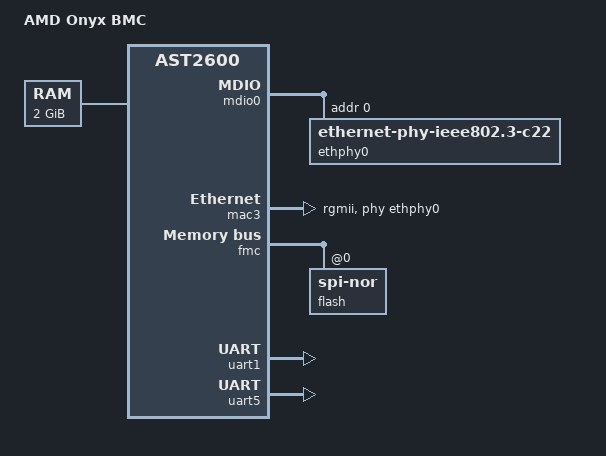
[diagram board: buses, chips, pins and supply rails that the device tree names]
// SPDX-License-Identifier: GPL-2.0+
// Copyright (c) 2021 - 2024 AMD Inc.
// Author: Supreeth Venkatesh <supreeth.venkatesh@amd.com>

/dts-v1/;

#include "aspeed-g6.dtsi"
#include <dt-bindings/gpio/aspeed-gpio.h>

/ {
       model = "AMD Onyx BMC";
       compatible = "amd,onyx-bmc", "aspeed,ast2600";

       aliases {
               serial0 = &uart1;
               serial4 = &uart5;
      };

       chosen {
               stdout-path = &uart5;
               bootargs = "console=ttyS4,115200 earlyprintk vmalloc=512MB";
       };

       memory@80000000 {
               device_type = "memory";
               reg = <0x80000000 0x80000000>;
       };

};

&mdio0 {
       status = "okay";

       ethphy0: ethernet-phy@0 {
               compatible = "ethernet-phy-ieee802.3-c22";
               reg = <0>;
       };
};

&mac3 {
       status = "okay";
       phy-mode = "rgmii";
       phy-handle = <&ethphy0>;

       pinctrl-names = "default";
       pinctrl-0 = <&pinctrl_rgmii4_default>;
};



&fmc {
       status = "okay";
       flash@0 {
               compatible = "jedec,spi-nor";
               status = "okay";
               #include "openbmc-flash-layout-128.dtsi"
       };
};

//Host Console
&uart1 {
       status = "okay";
};

//BMC Console
&uart5 {
       status = "okay";
};

&gpio0 {
        gpio-line-names =
        /*A0-A7*/       "","","","","","","","",
        /*B0-B7*/       "","","","","MON_POST_COMPLETE","P0_PRESENT_L","","",
        /*C0-C7*/       "","","","","","","","",
        /*D0-D7*/       "","","","","","","","",
        /*E0-E7*/       "","","","","","","","",
        /*F0-F7*/       "","","","","","","","",
        /*G0-G7*/       "","","","","","","","",
        /*H0-H7*/       "","ASSERT_WARM_RST_BTN_L","ASSERT_SOC_RST_BTN_L","","","","","",
        /*I0-I7*/       "","","","","","","","P0_I3C_APML_ALERT_L",
        /*J0-J7*/       "","","","","","","","",
        /*K0-K7*/       "","","","","","","","",
        /*L0-L7*/       "","","","","","","","",
        /*M0-M7*/       "","","","","","","","",
        /*N0-N7*/       "","","","","","","PSP_SOFT_FUSE_NOTIFY","ASSERT_BMC_READY",
        /*O0-O7*/       "","","HDT_SEL","HDT_XTRIG5","HDT_XTRIG6","JTAG_TRST_N","","",
        /*P0-P7*/       "MON_RST_BTN_L","ASSERT_RST_BTN_L","MON_PWR_BTN_L","ASSERT_PWR_BTN_L","HPM_FPGA_LOCKOUT","ASSERT_NMI_BTN_L","MON_PWR_GOOD","",
        /*Q0-Q7*/       "","","HDT_DBREQ_L","","BIOS_SPD_MUX_CTRL_RELEASED_L","","","",
        /*R0-R7*/       "","","","","","","","",
        /*S0-S7*/       "","","","","","","P0_DIMM_AF_ERROR","P0_DIMM_GL_ERROR",
        /*T0-T7*/       "","","","","","","","",
        /*U0-U7*/       "","","","","","","","",
        /*V0-V7*/       "","","","","","","","",
        /*W0-W7*/       "","","","","","","","",
        /*X0-X7*/       "","","","","","","","",
        /*Y0-Y7*/       "","","","","","","","",
        /*Z0-Z7*/       "","","","","","","","";
};
